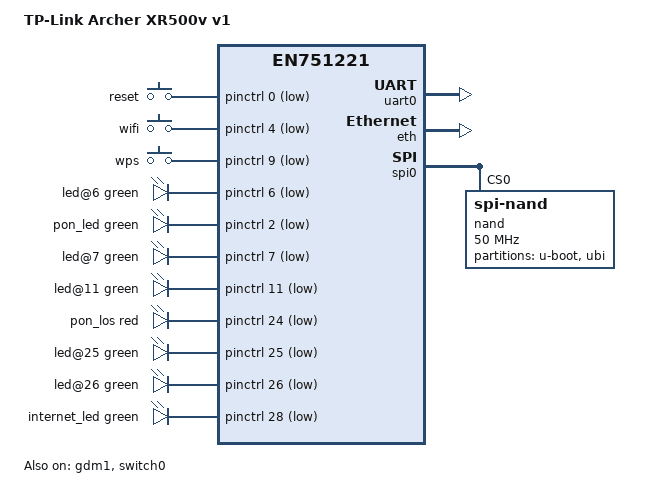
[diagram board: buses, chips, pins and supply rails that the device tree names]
// SPDX-License-Identifier: GPL-2.0+
/dts-v1/;

#include "econet,en751221.dtsi"

/ {
	model = "TP-Link Archer XR500v v1";
	compatible = "tplink,archer-xr500v-v1", "econet,en751221";

	/* EN7526G package of the EN751221 family, 256 MiB DDR, 128 MiB SPI-NAND. */

	chosen {
		stdout-path = "serial0:115200n8";
	};

	keys {
		compatible = "gpio-keys-polled";

		reset {
			label = "reset";
			linux,code = <KEY_RESTART>;
			gpios = <&pinctrl 0 GPIO_ACTIVE_LOW>;
			debounce-interval = <60>;
		};

		wifi {
			label = "wifi";
			linux,code = <KEY_RFKILL>;
			gpios = <&pinctrl 4 GPIO_ACTIVE_LOW>;
			debounce-interval = <60>;
		};

		wps {
			label = "wps";
			linux,code = <KEY_WPS_BUTTON>;
			gpios = <&pinctrl 9 GPIO_ACTIVE_LOW>;
			debounce-interval = <60>;
		};
	};

	/* The power LED is wired to the rail, not to a GPIO. */
	leds {
		compatible = "gpio-leds";

		/*
		 * Power. Not hardwired: the OEM bootloader switches it on, so
		 * after BootROM recovery it stays dark unless U-Boot does.
		 */
		led@6 {
			color = <LED_COLOR_ID_GREEN>;
			function = LED_FUNCTION_POWER;
			gpios = <&pinctrl 6 GPIO_ACTIVE_LOW>;
			default-state = "on";
		};

		/* xPON */
		pon_led: led@2 {
			color = <LED_COLOR_ID_GREEN>;
			function = LED_FUNCTION_STATUS;
			function-enumerator = <2>;
			gpios = <&pinctrl 2 GPIO_ACTIVE_LOW>;
		};

		/* WPS */
		led@7 {
			color = <LED_COLOR_ID_GREEN>;
			function = LED_FUNCTION_WPS;
			function-enumerator = <7>;
			gpios = <&pinctrl 7 GPIO_ACTIVE_LOW>;
		};

		/* USB */
		led@11 {
			color = <LED_COLOR_ID_GREEN>;
			function = LED_FUNCTION_USB;
			function-enumerator = <11>;
			gpios = <&pinctrl 11 GPIO_ACTIVE_LOW>;
		};

		/* LOS */
		pon_los: led@24 {
			color = <LED_COLOR_ID_RED>;
			function = LED_FUNCTION_STATUS;
			function-enumerator = <24>;
			gpios = <&pinctrl 24 GPIO_ACTIVE_LOW>;
		};

		/* Phone 1 */
		led@25 {
			color = <LED_COLOR_ID_GREEN>;
			function = LED_FUNCTION_STATUS;
			function-enumerator = <25>;
			gpios = <&pinctrl 25 GPIO_ACTIVE_LOW>;
		};

		/* Phone 2 */
		led@26 {
			color = <LED_COLOR_ID_GREEN>;
			function = LED_FUNCTION_STATUS;
			function-enumerator = <26>;
			gpios = <&pinctrl 26 GPIO_ACTIVE_LOW>;
		};

		/* Internet: free during boot, used as the boot indicator. */
		internet_led: led@28 {
			color = <LED_COLOR_ID_GREEN>;
			function = LED_FUNCTION_STATUS;
			function-enumerator = <28>;
			gpios = <&pinctrl 28 GPIO_ACTIVE_LOW>;
		};
	};
};

&uart0 {
	status = "okay";
};

&eth {
	status = "okay";
};

&gdm1 {
	status = "okay";
};

&switch0 {
	status = "okay";
};

&spi0 {
	status = "okay";

	nand: nand@0 {
		compatible = "spi-nand";
		reg = <0>;
		spi-max-frequency = <50000000>;
		spi-tx-bus-width = <1>;
		spi-rx-bus-width = <2>;

		partitions {
			compatible = "fixed-partitions";
			#address-cells = <1>;
			#size-cells = <1>;

			partition@0 {
				label = "u-boot";
				reg = <0x000000 0x100000>;
			};

			partition@100000 {
				label = "ubi";
				reg = <0x100000 0x000000>;
			};
		};
	};
};
